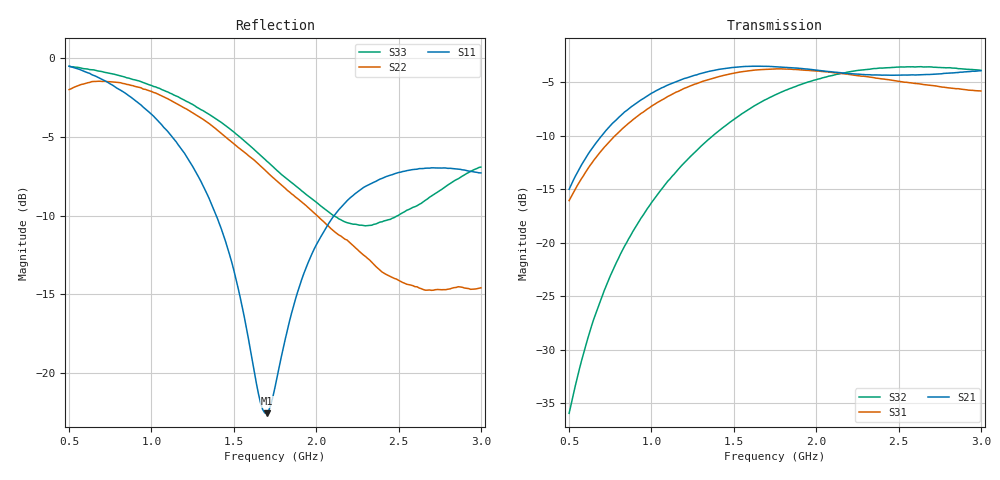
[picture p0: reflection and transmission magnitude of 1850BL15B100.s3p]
! Port 1 of VNA is connected to Unbalance Pin (1) of device
! Port 2 of VNA is connected to Balance Pin (4) of device
! Port 3 of VNA is connected to Balance Pin (3) of device
# hz S db R 50
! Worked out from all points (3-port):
!   201 points, 500 MHz to 3 GHz, reference 50 ohm
!   strongest paths, dB at 500 MHz, 1.125 GHz, 1.75 GHz, 2.375 GHz, 3 GHz:
!     S21: -15.0, -5.1, -3.5, -4.3, -3.9
!     S31: -16.1, -6.1, -3.7, -4.6, -5.8
!     S32: -35.9, -13.8, -6.2, -3.7, -3.9
!   lowest |S11| = -22.6 dB at 1.7 GHz (marker M1), VSWR 1.16, Z = 43.7 + j3.01 ohm
!   |S11| at or under -10 dB: 1.394 GHz to 2.109 GHz (714.9 MHz wide, 40.8 % of centre)
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5e8  -0.49 -106.3  -15.01 -70.7  -16.07 100.2
     -15.00 -70.8  -1.98 142.2  -35.95 147.8
     -16.05 100.2  -35.95 147.8  -0.50 135.6
7.625e8  -1.70 -158.2  -8.86 -115.2  -10.24 61.9
         -8.84 -115.3  -1.50 110.1  -22.66 138.9
         -10.24 61.8  -22.67 138.9  -0.98 112.5
1.1e9  -4.66 146.6  -5.24 -163.9  -6.32 17.3
       -5.24 -164.0  -2.57 76.4  -14.24 103.0
       -6.31 17.0  -14.22 103.0  -2.14 83.8
1.425e9  -10.87 107.9  -3.75 156.0  -4.39 -23.2
         -3.74 156.0  -4.78 51.0  -9.33 67.5
         -4.39 -23.3  -9.34 67.4  -4.08 55.0
1.7e9  -22.57 152.6  -3.50 126.1  -3.78 -55.8
       -3.49 126.0  -7.21 33.8  -6.55 36.3
       -3.77 -55.8  -6.56 36.3  -6.53 30.0
1.75e9  -20.91 177.3  -3.53 121.2  -3.75 -61.4
        -3.53 121.1  -7.69 30.5  -6.18 30.6
        -3.74 -61.5  -6.17 30.7  -7.01 24.9
1.9625e9  -12.71 -166.8  -3.78 102.2  -3.89 -84.1
          -3.78 102.1  -9.59 16.5  -4.91 6.8
          -3.89 -84.3  -4.91 6.7  -8.84 1.9
2.275e9  -8.30 174.9  -4.24 79.5  -4.41 -114.2
         -4.26 79.5  -12.39 -15.8  -3.85 -27.7
         -4.42 -114.0  -3.84 -27.5  -10.60 -44.9
2.6375e9  -7.01 153.4  -4.29 57.0  -5.19 -144.6
          -4.28 57.0  -14.64 -72.9  -3.55 -65.5
          -5.16 -144.8  -3.53 -65.4  -9.22 -102.2
3e9  -7.28 134.0  -3.92 34.1  -5.82 -172.0
     -3.90 33.9  -14.59 -123.6  -3.87 -100.5
     -5.80 -172.0  -3.87 -100.4  -6.91 -142.8
